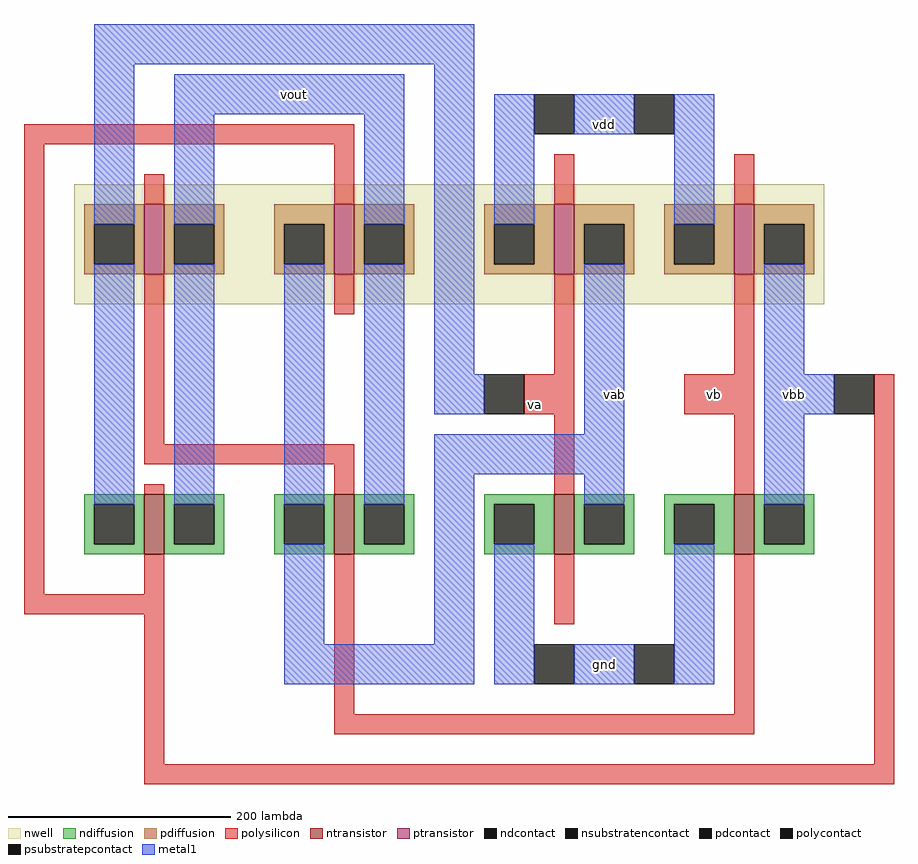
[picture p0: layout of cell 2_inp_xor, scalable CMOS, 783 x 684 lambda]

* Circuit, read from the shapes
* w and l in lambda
.subckt 2_inp_xor gnd va vab vb vbb vdd vout
M1 vout vbb va gnd nfet w=54 l=18
M2 vout vb vab gnd nfet w=54 l=18
M3 vab va gnd gnd nfet w=54 l=18
M4 vbb vb gnd gnd nfet w=54 l=18
M5 vout vb va n1 pfet w=63 l=18
M6 vout vbb vab n1 pfet w=63 l=18
M7 vab va vdd n1 pfet w=63 l=18
M8 vbb vb vdd n1 pfet w=63 l=18
.ends

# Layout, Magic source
magic
tech scmos
magscale 9 1
<< nwell >>
rect -19 1 56 13
<< ntransistor >>
rect -12 -24 -10 -18
rect 7 -24 9 -18
rect 29 -24 31 -18
rect 47 -24 49 -18
<< ptransistor >>
rect -12 4 -10 11
rect 7 4 9 11
rect 29 4 31 11
rect 47 4 49 11
<< ndiffusion >>
rect -18 -19 -12 -18
rect -18 -23 -17 -19
rect -13 -23 -12 -19
rect -18 -24 -12 -23
rect -10 -19 -4 -18
rect -10 -23 -9 -19
rect -5 -23 -4 -19
rect -10 -24 -4 -23
rect 1 -19 7 -18
rect 1 -23 2 -19
rect 6 -23 7 -19
rect 1 -24 7 -23
rect 9 -19 15 -18
rect 9 -23 10 -19
rect 14 -23 15 -19
rect 9 -24 15 -23
rect 22 -19 29 -18
rect 22 -23 23 -19
rect 27 -23 29 -19
rect 22 -24 29 -23
rect 31 -19 37 -18
rect 31 -23 32 -19
rect 36 -23 37 -19
rect 31 -24 37 -23
rect 40 -19 47 -18
rect 40 -23 41 -19
rect 45 -23 47 -19
rect 40 -24 47 -23
rect 49 -19 55 -18
rect 49 -23 50 -19
rect 54 -23 55 -19
rect 49 -24 55 -23
<< pdiffusion >>
rect -18 9 -12 11
rect -18 5 -17 9
rect -13 5 -12 9
rect -18 4 -12 5
rect -10 9 -4 11
rect -10 5 -9 9
rect -5 5 -4 9
rect -10 4 -4 5
rect 1 9 7 11
rect 1 5 2 9
rect 6 5 7 9
rect 1 4 7 5
rect 9 9 15 11
rect 9 5 10 9
rect 14 5 15 9
rect 9 4 15 5
rect 22 9 29 11
rect 22 5 23 9
rect 27 5 29 9
rect 22 4 29 5
rect 31 9 37 11
rect 31 5 32 9
rect 36 5 37 9
rect 31 4 37 5
rect 40 9 47 11
rect 40 5 41 9
rect 45 5 47 9
rect 40 4 47 5
rect 49 9 55 11
rect 49 5 50 9
rect 54 5 55 9
rect 49 4 55 5
<< ndcontact >>
rect -17 -23 -13 -19
rect -9 -23 -5 -19
rect 2 -23 6 -19
rect 10 -23 14 -19
rect 23 -23 27 -19
rect 32 -23 36 -19
rect 41 -23 45 -19
rect 50 -23 54 -19
<< pdcontact >>
rect -17 5 -13 9
rect -9 5 -5 9
rect 2 5 6 9
rect 10 5 14 9
rect 23 5 27 9
rect 32 5 36 9
rect 41 5 45 9
rect 50 5 54 9
<< psubstratepcontact >>
rect 27 -37 31 -33
rect 37 -37 41 -33
<< nsubstratencontact >>
rect 27 18 31 22
rect 37 18 41 22
<< polysilicon >>
rect -24 17 9 19
rect -24 -28 -22 17
rect -12 11 -10 14
rect 7 11 9 17
rect 29 11 31 16
rect 47 11 49 16
rect -12 -13 -10 4
rect 7 0 9 4
rect 29 -6 31 4
rect 47 -6 49 4
rect 26 -10 31 -6
rect 42 -10 49 -6
rect -12 -15 9 -13
rect -12 -18 -10 -17
rect 7 -18 9 -15
rect 29 -18 31 -10
rect 47 -18 49 -10
rect -12 -28 -10 -24
rect -24 -30 -10 -28
rect -12 -45 -10 -30
rect 7 -40 9 -24
rect 29 -31 31 -24
rect 47 -40 49 -24
rect 7 -42 49 -40
rect 61 -45 63 -6
rect -12 -47 63 -45
<< polycontact >>
rect 22 -10 26 -6
rect 57 -10 61 -6
<< metal1 >>
rect -17 25 21 29
rect -17 9 -13 25
rect -17 -19 -13 5
rect -9 20 14 24
rect -9 9 -5 20
rect 10 9 14 20
rect -9 -19 -5 5
rect 2 -19 6 5
rect 10 -19 14 5
rect 17 -6 21 25
rect 23 9 27 22
rect 31 18 37 22
rect 41 9 45 22
rect 17 -10 22 -6
rect 32 -12 36 5
rect 17 -16 36 -12
rect 2 -33 6 -23
rect 17 -33 21 -16
rect 32 -19 36 -16
rect 50 -6 54 5
rect 50 -10 57 -6
rect 50 -19 54 -10
rect 2 -37 21 -33
rect 23 -37 27 -23
rect 31 -37 37 -33
rect 41 -37 45 -23
<< labels >>
rlabel polysilicon 27 -9 27 -9 1 va
rlabel metal1 35 -8 35 -8 1 vab
rlabel polysilicon 45 -8 45 -8 1 vb
rlabel metal1 53 -8 53 -8 1 vbb
rlabel metal1 34 19 34 19 5 vdd
rlabel metal1 34 -35 34 -35 1 gnd
rlabel metal1 3 22 3 22 1 vout
<< end >>
